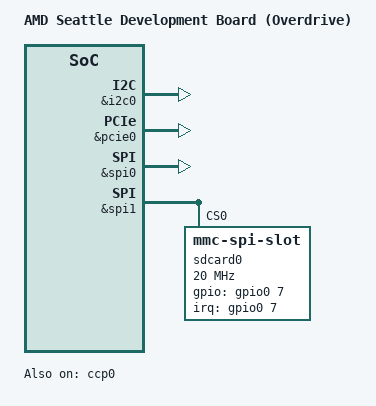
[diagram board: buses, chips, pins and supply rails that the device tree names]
FASTVC-BENCH-CORPUS:linux-main-100k-v1-e0bd41dc-8e12-4f1b-978d-a3645ae59da0
/* bench 807.1.0 1dda1d3ff395 */
/* bench 807.1.1 7279b34a9644 */
/* bench 807.1.2 3833257de8c3 */
/* bench 807.1.3 690e3b40a53e */
/* bench 807.1.4 e5348a5ac539 */
/* bench 12733.0.0 4c3c266d8778 */
/* bench 12733.0.1 6049f46207c2 */
/* bench 12733.0.2 9cca7c849952 */
/* bench 12733.0.3 49ab1b6fd042 */
/* bench 12733.0.4 4b5c4cf6bf36 */
/* bench 12733.0.5 5b2f28068c43 */
/* bench 12733.0.6 030b58c49b56 */
/* bench 12733.0.7 5741ea47f021 */
/* bench 807.1.6 fb77929db73c */
 * DTS file for AMD Seattle Overdrive Development Board
 *
 * Copyright (C) 2014 Advanced Micro Devices, Inc.
 */

/dts-v1/;

/include/ "amd-seattle-soc.dtsi"

/ {
	model = "AMD Seattle Development Board (Overdrive)";
	compatible = "amd,seattle-overdrive", "amd,seattle";

	chosen {
		stdout-path = &serial0;
	};
};

&ccp0 {
	status = "ok";
};

&gpio0 {
	status = "ok";
/* bench 10709.0.0 0a56344be629 */
/* bench 10709.0.1 b0b5e82be569 */
/* bench 10709.0.2 ceeb80bcd2b3 */
/* bench 10709.0.3 a53d5ecb6f2c */
/* bench 10709.0.4 929392e36775 */
/* bench 10709.0.5 625ad84d51f1 */
/* bench 10709.0.6 a1ae08e73f61 */
/* bench 10709.0.7 398c6cdafb48 */
/* bench 10709.0.8 6ee6c6a0a762 */
/* bench 10709.0.9 f7e3e4e42420 */
/* bench 10709.0.10 6f02a423ae26 */
/* bench 10709.0.11 101a4a1ddf07 */
/* bench 10709.0.12 ca914940fcbe */
/* bench 10709.0.13 f800d771cf0c */
/* bench 10709.0.14 a1462ea2e28a */
/* bench 10709.0.15 c7a7412d1800 */
&gpio1 {
	status = "ok";
};

&i2c0 {
	status = "ok";
};

&pcie0 {
	status = "ok";
};

&spi0 {
	status = "ok";
};

&spi1 {
	status = "ok";
	sdcard0: sdcard@0 {
		compatible = "mmc-spi-slot";
		reg = <0>;
		spi-max-frequency = <20000000>;
		voltage-ranges = <3200 3400>;
		gpios = <&gpio0 7 0>;
		interrupt-parent = <&gpio0>;
		interrupts = <7 3>;
		pl022,hierarchy = <0>;
		pl022,interface = <0>;
		pl022,com-mode = <0x0>;
		pl022,rx-level-trig = <0>;
		pl022,tx-level-trig = <0>;
	};
};

&v2m0 {
	arm,msi-base-spi = <64>;
	arm,msi-num-spis = <256>;
};
